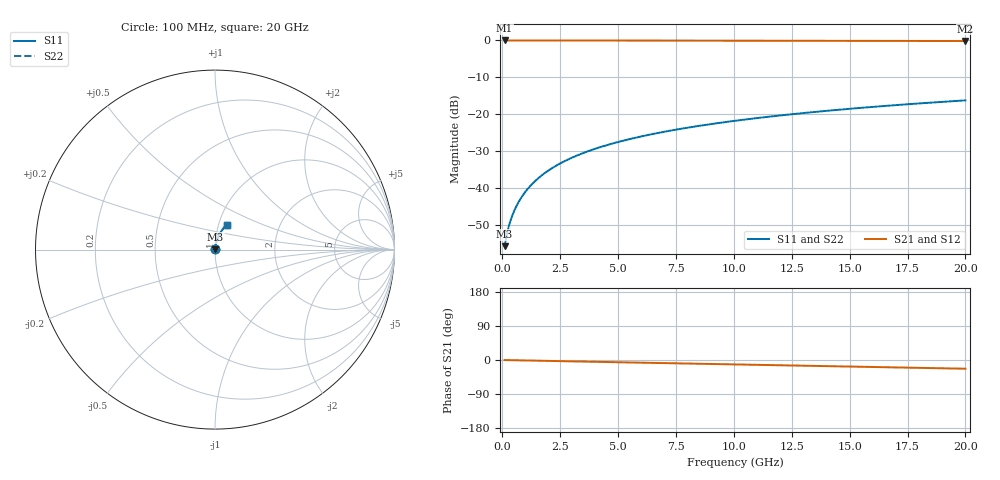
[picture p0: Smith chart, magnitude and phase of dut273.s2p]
! Touchstone file exported from HFSS 2026.1.0
!  File:  C:/ffzhzh/LocalFiles/Ansys_Project_Files/temp_train_BSMRDL_273_1782988988_40604.aedt
!  Generated:  06:44:26 PM Jul  2, 2026
!  Design:  BSMRDL
!  Project:  temp_train_BSMRDL_273_1782988988_40604
! Variables:
!  h_bsmrdl = 4.19um
!  h_ox = 20um
!  h_rdl = 5um
!  h_sub = 80um
!  h_tmrdl = 5um
!  h_tsv = 80um
!  h_via = 3um
!  l_bsmrdl = 348.48um
!  l_sub = 748.48um
!  l_tmrdl = 200um
!  m_sub = 200um
!  pitch = 45.77um
!  r_tsv = 6um
!  s_tmrdl = 10um
!  w_bsmrdl = 29.49um
!  w_sub = 500um
!  w_tmrdl = 12um
!  x_tsv_center1 = 206um
!  x_tsv_center2 = 583.97um
!  x_tsv_center3 = 795.97um
!  x_tsv_center4 = 1173.94um
!  x_tsv_center5 = 1385.94um
!  x_tsv_center6 = 1763.91um
# GHz S MA R 50.000000
! Terminal data exported
! Port[1] = BSM_RDL1_1_T1
! Port[2] = BSM_RDL1_1_T2
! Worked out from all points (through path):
!   200 points, 100 MHz to 20 GHz, reference 50 ohm
!   highest |S21| = -0.01 dB at 100 MHz (marker M1); lowest = -0.2 dB at 20 GHz (marker M2)
!   group delay of S21, straight-line fit = 3.19 ps
!   lowest |S11| = -55.9 dB at 100 MHz (marker M3), VSWR 1.00, Z = 50.1 + j0.102 ohm
!   |S11| at or under -10 dB: start of sweep to end of sweep
!   |S22| runs from -55.9 to -16.3 dB; largest |S21 - S12| = 4e-15
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0.1  0.00161 39.4  0.9988 -0.1  0.9988 -0.1  0.00161 39.4
! Gamma 0 0 0 0
! Port Impedance 50 0 50 0
0.2  0.002378 54.7  0.9986 -0.3  0.9986 -0.3  0.002378 54.7
0.3  0.003163 62.0  0.9985 -0.4  0.9985 -0.4  0.003163 62.0
0.4  0.003948 66.7  0.9985 -0.5  0.9985 -0.5  0.003947 66.7
0.5  0.004741 70.0  0.9984 -0.6  0.9984 -0.6  0.004741 70.0
0.6  0.005546 72.4  0.9984 -0.7  0.9984 -0.7  0.005546 72.4
0.8  0.00718 75.6  0.9983 -1.0  0.9983 -1.0  0.00718 75.6
1.1  0.00967 78.4  0.9982 -1.3  0.9982 -1.3  0.00967 78.4
1.3  0.01134 79.4  0.9982 -1.6  0.9982 -1.6  0.01134 79.4
1.6  0.01385 80.4  0.998 -1.9  0.998 -1.9  0.01385 80.4
2.1  0.01804 81.1  0.9978 -2.5  0.9978 -2.5  0.01804 81.1
2.7  0.02303 81.2  0.9975 -3.2  0.9975 -3.2  0.02303 81.2
3.5  0.02962 80.9  0.997 -4.2  0.997 -4.2  0.02962 80.9
4.2  0.03532 80.4  0.9966 -5.0  0.9966 -5.0  0.03532 80.5
5  0.04176 79.8  0.996 -5.9  0.996 -5.9  0.04176 79.8
5.9  0.04892 79.0  0.9953 -7.0  0.9953 -7.0  0.04892 79.0
6.8  0.05601 78.1  0.9946 -8.0  0.9946 -8.0  0.05601 78.1
8.3  0.06767 76.6  0.9934 -9.7  0.9934 -9.7  0.06767 76.6
10.1  0.08146 74.8  0.9918 -11.8  0.9918 -11.8  0.08146 74.8
13.4  0.1062 71.4  0.9887 -15.5  0.9887 -15.5  0.1062 71.4
16.7  0.1302 68.0  0.9852 -19.3  0.9852 -19.3  0.1302 68.0
20  0.1534 64.5  0.9814 -23.0  0.9814 -23.0  0.1534 64.5
